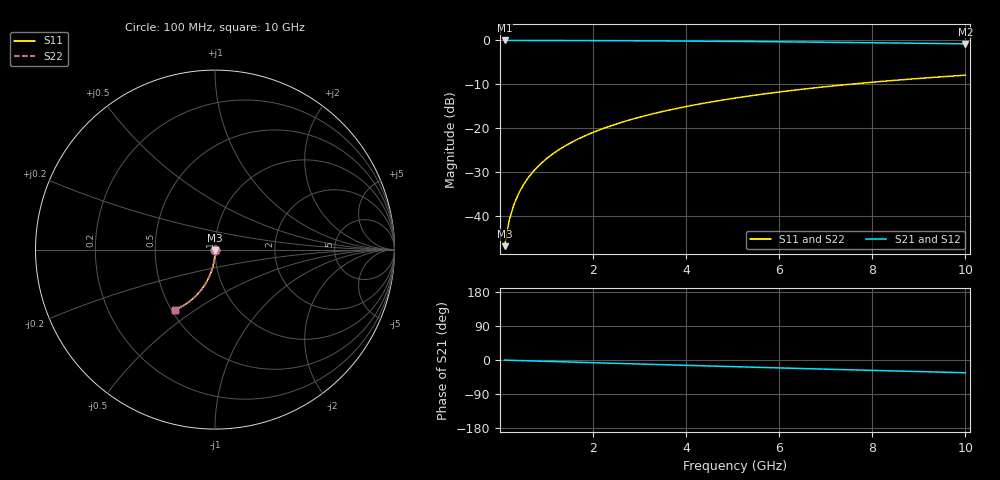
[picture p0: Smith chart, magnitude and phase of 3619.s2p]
# Hz S RI R 50.00
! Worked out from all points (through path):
!   100 points, 100 MHz to 10 GHz, reference 50 ohm
!   highest |S21| = -0.01 dB at 100 MHz (marker M1); lowest = -0.8 dB at 10 GHz (marker M2)
!   group delay of S21, straight-line fit = 9.36 ps
!   lowest |S11| = -46.8 dB at 100 MHz (marker M3), VSWR 1.01, Z = 50.1 - j0.452 ohm
!   |S11| at or under -10 dB: start of sweep to 7.502 GHz
!   |S22| runs from -46.8 to -7.9 dB; largest |S21 - S12| = 0
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1e8  0.000598 -0.00451  0.9993 -0.0062  0.9993 -0.0062  0.000598 -0.00451
2e8  0.000514 -0.00902  0.9992 -0.0124  0.9992 -0.0124  0.000514 -0.00902
3e8  0.000372 -0.0135  0.9991 -0.0186  0.9991 -0.0186  0.000372 -0.0135
4e8  0.000174 -0.018  0.9989 -0.0248  0.9989 -0.0248  0.000174 -0.018
5e8  -8.08e-05 -0.0225  0.9986 -0.031  0.9986 -0.031  -8.08e-05 -0.0225
6e8  -0.000391 -0.027  0.9983 -0.0372  0.9983 -0.0372  -0.000391 -0.027
7e8  -0.000757 -0.0315  0.9979 -0.0433  0.9979 -0.0433  -0.000757 -0.0315
8e8  -0.00118 -0.036  0.9974 -0.0495  0.9974 -0.0495  -0.00118 -0.036
9e8  -0.00166 -0.0405  0.9969 -0.0557  0.9969 -0.0557  -0.00166 -0.0405
1.1e9  -0.00278 -0.0494  0.9957 -0.068  0.9957 -0.068  -0.00278 -0.0494
1.4e9  -0.00487 -0.0628  0.9935 -0.0864  0.9935 -0.0864  -0.00487 -0.0628
1.8e9  -0.00842 -0.0804  0.9898 -0.1107  0.9898 -0.1107  -0.00842 -0.0804
2.1e9  -0.0116 -0.0934  0.9864 -0.1289  0.9864 -0.1289  -0.0116 -0.0934
2.5e9  -0.0167 -0.1106  0.9811 -0.1528  0.9811 -0.1528  -0.0167 -0.1106
2.9e9  -0.0225 -0.1274  0.9749 -0.1764  0.9749 -0.1764  -0.0225 -0.1274
3.4e9  -0.0309 -0.1479  0.9661 -0.2053  0.9661 -0.2053  -0.0309 -0.1479
4.2e9  -0.0468 -0.1793  0.9493 -0.2503  0.9493 -0.2503  -0.0468 -0.1793
5.1e9  -0.0678 -0.2121  0.9271 -0.2984  0.9271 -0.2984  -0.0678 -0.2121
5.9e9  -0.089 -0.2389  0.9045 -0.3388  0.9045 -0.3388  -0.089 -0.2389
6.7e9  -0.1123 -0.2632  0.8798 -0.3768  0.8798 -0.3768  -0.1123 -0.2632
8.4e9  -0.1668 -0.306  0.8215 -0.4488  0.8215 -0.4488  -0.1668 -0.306
1e10  -0.222 -0.3351  0.7618 -0.5056  0.7618 -0.5056  -0.222 -0.3351
